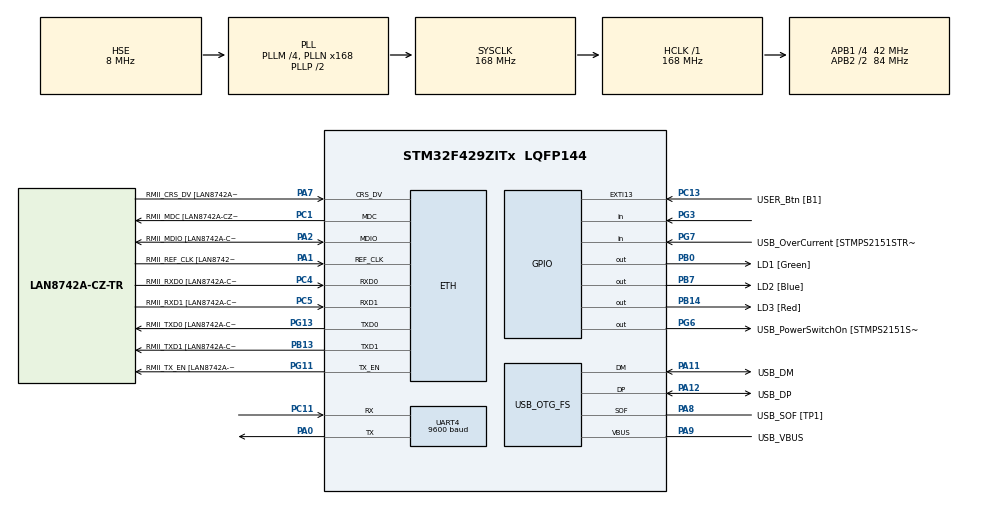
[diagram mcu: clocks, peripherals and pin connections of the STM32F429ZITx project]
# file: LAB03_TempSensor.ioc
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Dma.Request0=UART4_TX
Dma.Request1=UART4_RX
Dma.UART4_RX.1.Direction=DMA_PERIPH_TO_MEMORY
Dma.UART4_RX.1.FIFOMode=DMA_FIFOMODE_DISABLE
Dma.UART4_RX.1.Instance=DMA1_Stream2
Dma.UART4_RX.1.MemDataAlignment=DMA_MDATAALIGN_BYTE
Dma.UART4_RX.1.MemInc=DMA_MINC_ENABLE
Dma.UART4_RX.1.Mode=DMA_NORMAL
Dma.UART4_RX.1.PeriphDataAlignment=DMA_PDATAALIGN_BYTE
Dma.UART4_RX.1.PeriphInc=DMA_PINC_DISABLE
Dma.UART4_RX.1.Priority=DMA_PRIORITY_LOW
Dma.UART4_TX.0.Direction=DMA_MEMORY_TO_PERIPH
Dma.UART4_TX.0.FIFOMode=DMA_FIFOMODE_DISABLE
Dma.UART4_TX.0.Instance=DMA1_Stream4
Dma.UART4_TX.0.MemDataAlignment=DMA_MDATAALIGN_BYTE
Dma.UART4_TX.0.MemInc=DMA_MINC_ENABLE
Dma.UART4_TX.0.Mode=DMA_NORMAL
Dma.UART4_TX.0.PeriphDataAlignment=DMA_PDATAALIGN_BYTE
Dma.UART4_TX.0.PeriphInc=DMA_PINC_DISABLE
Dma.UART4_TX.0.Priority=DMA_PRIORITY_LOW
ETH.MediaInterface=HAL_ETH_RMII_MODE
ETH.PHY_Name=LAN8742A_PHY_ADDRESS
ETH.PHY_Value=0
ETH.PhyAddress=0
Mcu.Family=STM32F4
Mcu.Name=STM32F429ZITx
Mcu.Package=LQFP144
NVIC.DMA1_Stream2_IRQn=true\:0\:0\:false\:false\:true\:false\:true\:true
NVIC.DMA1_Stream4_IRQn=true\:0\:0\:false\:false\:true\:false\:true\:true
NVIC.PriorityGroup=NVIC_PRIORITYGROUP_4
NVIC.UART4_IRQn=true\:0\:0\:false\:false\:true\:true\:true\:true
PA0/WKUP.Mode=Asynchronous
PA0/WKUP.Signal=UART4_TX
PA1.GPIO_Label=RMII_REF_CLK [LAN8742A-CZ-TR_REFCLK0]
PA1.Mode=RMII
PA1.Signal=ETH_REF_CLK
PA10.GPIO_Label=USB_ID
PA10.Signal=USB_OTG_FS_ID
PA11.GPIO_Label=USB_DM
PA11.Mode=Device_Only
PA11.Signal=USB_OTG_FS_DM
PA12.GPIO_Label=USB_DP
PA12.Mode=Device_Only
PA12.Signal=USB_OTG_FS_DP
PA13.GPIO_Label=TMS
PA13.Mode=Serial_Wire
PA13.Signal=SYS_JTMS-SWDIO
PA14.GPIO_Label=TCK
PA14.Mode=Serial_Wire
PA14.Signal=SYS_JTCK-SWCLK
PA2.GPIO_Label=RMII_MDIO [LAN8742A-CZ-TR_MDIO]
PA2.Mode=RMII
PA2.Signal=ETH_MDIO
PA7.GPIO_Label=RMII_CRS_DV [LAN8742A-CZ-TR_CRS_DV]
PA7.Mode=RMII
PA7.Signal=ETH_CRS_DV
PA8.GPIO_Label=USB_SOF [TP1]
PA8.Mode=Activate_SOF_FS
PA8.Signal=USB_OTG_FS_SOF
PA9.GPIO_Label=USB_VBUS
PA9.Mode=Activate_VBUS
PA9.Signal=USB_OTG_FS_VBUS
PB0.GPIO_Label=LD1 [Green]
PB0.Signal=GPIO_Output
PB13.GPIO_Label=RMII_TXD1 [LAN8742A-CZ-TR_TXD1]
PB13.Mode=RMII
PB13.Signal=ETH_TXD1
PB14.GPIO_Label=LD3 [Red]
PB14.Signal=GPIO_Output
PB7.GPIO_Label=LD2 [Blue]
PB7.Signal=GPIO_Output
PC1.GPIO_Label=RMII_MDC [LAN8742A-CZ-TR_MDC]
PC1.Mode=RMII
PC1.Signal=ETH_MDC
PC11.Mode=Asynchronous
PC11.Signal=UART4_RX
PC13.GPIO_Label=USER_Btn [B1]
PC13.Signal=GPXTI13
PC14/OSC32_IN.Mode=LSE-External-Oscillator
PC14/OSC32_IN.Signal=RCC_OSC32_IN
PC15/OSC32_OUT.Mode=LSE-External-Oscillator
PC15/OSC32_OUT.Signal=RCC_OSC32_OUT
PC4.GPIO_Label=RMII_RXD0 [LAN8742A-CZ-TR_RXD0]
PC4.Mode=RMII
PC4.Signal=ETH_RXD0
PC5.GPIO_Label=RMII_RXD1 [LAN8742A-CZ-TR_RXD1]
PC5.Mode=RMII
PC5.Signal=ETH_RXD1
PD8.GPIO_Label=STLK_RX [STM32F103CBT6_PA3]
PD8.Signal=USART3_TX
PD9.GPIO_Label=STLK_TX [STM32F103CBT6_PA2]
PD9.Signal=USART3_RX
PG11.GPIO_Label=RMII_TX_EN [LAN8742A-CZ-TR_TXEN]
PG11.Mode=RMII
PG11.Signal=ETH_TX_EN
PG13.GPIO_Label=RMII_TXD0 [LAN8742A-CZ-TR_TXD0]
PG13.Mode=RMII
PG13.Signal=ETH_TXD0
PG3.Signal=GPIO_Input
PG6.GPIO_Label=USB_PowerSwitchOn [STMPS2151STR_EN]
PG6.Signal=GPIO_Output
PG7.GPIO_Label=USB_OverCurrent [STMPS2151STR_FAULT]
PG7.Signal=GPIO_Input
PH0/OSC_IN.GPIO_Label=MCO [STM32F103CBT6_PA8]
PH0/OSC_IN.Mode=HSE-External-Clock-Source
PH0/OSC_IN.Signal=RCC_OSC_IN
PH1/OSC_OUT.Mode=HSE-External-Clock-Source
PH1/OSC_OUT.Signal=RCC_OSC_OUT
ProjectManager.HeapSize=0x200
ProjectManager.StackSize=0x400
ProjectManager.TargetToolchain=MDK-ARM V5
RCC.48MHZClocksFreq_Value=48000000
RCC.AHBFreq_Value=168000000
RCC.APB1CLKDivider=RCC_HCLK_DIV4
RCC.APB1Freq_Value=42000000
RCC.APB1TimFreq_Value=84000000
RCC.APB2CLKDivider=RCC_HCLK_DIV2
RCC.APB2Freq_Value=84000000
RCC.APB2TimCLKDivider=2
RCC.APB2TimFreq_Value=168000000
RCC.CortexFreq_Value=168000000
RCC.HCLKFreq_Value=168000000
RCC.HSE_VALUE=8000000
RCC.HSI_VALUE=16000000
RCC.PLLM=4
RCC.PLLMUL=RCC_PLL_MUL9
RCC.PLLN=168
RCC.PLLQ=7
RCC.PRESCALERUSB=RCC_USBCLKSOURCE_PLL_DIV1_5
RCC.SYSCLKFreq_VALUE=168000000
RCC.SYSCLKSource=RCC_SYSCLKSOURCE_PLLCLK
RCC.SYSCLKSourceVirtual=RCC_SYSCLKSOURCE_PLLCLK
RCC.USBFreq_Value=48000000
RCC.VCOOutputFreq_Value=336000000
UART4.BaudRate=9600
UART4.VirtualMode=Asynchronous
USB_OTG_FS.VirtualMode=Device_Only
board=NUCLEO-F429ZI

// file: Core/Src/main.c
/* USER CODE BEGIN Header */
/**
  ******************************************************************************
  * @file           : main.c
  * @brief          : Main program body
  ******************************************************************************
  * @attention
  *
  * Copyright (c) 2023 STMicroelectronics.
  * All rights reserved.
  *
  * This software is licensed under terms that can be found in the LICENSE file
  * in the root directory of this software component.
  * If no LICENSE file comes with this software, it is provided AS-IS.
  *
  ******************************************************************************
  */
/* USER CODE END Header */
#include "main.h"
#include "string.h"
#include "stm32f4xx.h"

/* USER CODE BEGIN PD */

#define RS 14
#define RW 12
#define EN 10
#define DB4 14
#define DB5 15
#define DB6 13
#define DB7 14

/* USER CODE END PD */

ETH_TxPacketConfig TxConfig;
ETH_DMADescTypeDef  DMARxDscrTab[ETH_RX_DESC_CNT]; /* Ethernet Rx DMA Descriptors */
ETH_DMADescTypeDef  DMATxDscrTab[ETH_TX_DESC_CNT]; /* Ethernet Tx DMA Descriptors */

ETH_HandleTypeDef heth;

UART_HandleTypeDef huart4;
DMA_HandleTypeDef hdma_uart4_tx;
DMA_HandleTypeDef hdma_uart4_rx;

PCD_HandleTypeDef hpcd_USB_OTG_FS;

void SystemClock_Config(void);
static void MX_GPIO_Init(void);
static void MX_DMA_Init(void);
static void MX_ETH_Init(void);
static void MX_UART4_Init(void);
static void MX_USB_OTG_FS_PCD_Init(void);

/* USER CODE BEGIN 0 */
void LCD_port_init(int x);
void LCD_init(void);
void LCD_sendData(unsigned int bits);
void LCD_sendData(unsigned int bits);
void LCD_sendInstr(unsigned int high, unsigned int low);
void place_LCD_cursor(int num);
void delay(int num);
void setBits(char);
void intToChar(int num);
void doubleToLCD(double num, int sigfig);
void clear_pin(int pin);
void set_pin(int pin);
void check_BF(void);
void switch_line(int line);
/* USER CODE END 0 */

int main(void)
{

  /* MCU Configuration--------------------------------------------------------*/

  /* Reset of all peripherals, Initializes the Flash interface and the Systick. */
  HAL_Init();

  /* Configure the system clock */
  SystemClock_Config();

  /* Initialize all configured peripherals */
  MX_GPIO_Init();
  MX_DMA_Init();
  MX_ETH_Init();
  MX_UART4_Init();
  MX_USB_OTG_FS_PCD_Init();
	LCD_init();
	place_LCD_cursor(1);
  /* USER CODE BEGIN 2 */
	uint8_t pdata[10];
  /* USER CODE END 2 */

  /* Infinite loop */
  while (1)
  {
		HAL_UART_Receive(&huart4, pdata, 8, 1000);
		LCD_sendData(pdata[0]);

  }
}

void LCD_init() {
	// Enable Port D clock in RCC (bit 3 or AHB1ENR register)
	RCC->AHB1ENR |= RCC_AHB1ENR_GPIOEEN; //STEP 1: Enable GPIO in RCC AHB1ENR register
	RCC->AHB1ENR |= RCC_AHB1ENR_GPIOBEN;
	RCC->AHB1ENR |= RCC_AHB1ENR_GPIOGEN;
	RCC->AHB1ENR |= RCC_AHB1ENR_GPIOFEN;

	GPIOG->MODER &= ~(3u << DB4*2);
	GPIOF->MODER &= ~(3u << DB5*2);
	GPIOE->MODER &= ~(3u << DB6*2);
	GPIOF->MODER &= ~(3u << DB7*2);
	GPIOE->MODER &= ~(3u << EN*2);
	GPIOE->MODER &= ~(3u << RS*2);
	GPIOE->MODER &= ~(3u << RW*2);

	GPIOG->MODER |= (1u << DB4*2);
	GPIOF->MODER |= (1u << DB5*2);
	GPIOE->MODER |= (1u << DB6*2);
	GPIOF->MODER |= (1u << DB7*2);
	GPIOE->MODER |= (1u << EN*2);
	GPIOE->MODER |= (1u << RS*2);
	GPIOE->MODER |= (1u << RW*2);

	GPIOG->PUPDR &= ~(1u << DB4);
	GPIOF->PUPDR &= ~(1u << DB5);
	GPIOE->PUPDR &= ~(1u << DB6);
	GPIOF->PUPDR &= ~(1u << DB7);
	GPIOE->PUPDR &= ~(1u << EN);
	GPIOE->PUPDR &= ~(1u << RS);
	GPIOE->PUPDR &= ~(1u << RW);

	//initialize
	clear_pin(RW);
	clear_pin(RS);
	check_BF();

	LCD_sendInstr(3,3);
	LCD_sendInstr(3,2);

	LCD_sendInstr(0x2,0x8);
	LCD_sendInstr(0x0,0x8);
	LCD_sendInstr(0x0,0x1);
	LCD_sendInstr(0x0,0x6);
	LCD_sendInstr(0x0,0xf);

}

void LCD_sendData(unsigned int bits){
	unsigned int high;
	unsigned int low;

	high = bits&0xf0U;
	high = high/16;
	low = bits&0xfU;

	set_pin(RS);
	clear_pin(RW);
	// high bits
	GPIOG->ODR&=~(0x1U<<DB4); //clear
	GPIOF->ODR&=~(0x1U<<DB5); //clear
	GPIOE->ODR&=~(0x1U<<DB6); //clear
	GPIOF->ODR&=~(0x1U<<DB7); //clear

	GPIOG->ODR|=(high&0x1U<<DB4); //set
	GPIOF->ODR|=(high&0x2U<<(DB5-1)); //set
	GPIOE->ODR|=(high&0x4U<<(DB6-2)); //set
	GPIOF->ODR|=(high&0x8U<<(DB7-3)); //set

	set_pin(EN); clear_pin(EN); //read
	check_BF();

	set_pin(RS);
	clear_pin(RW);
	// high bits
	GPIOG->ODR&=~(0x1U<<DB4); //clear
	GPIOF->ODR&=~(0x1U<<DB5); //clear
	GPIOE->ODR&=~(0x1U<<DB6); //clear
	GPIOF->ODR&=~(0x1U<<DB7); //clear

	GPIOG->ODR|=(low&0x1U<<DB4); //set
	GPIOF->ODR|=(low&0x2U<<(DB5-1)); //set
	GPIOE->ODR|=(low&0x4U<<(DB6-2)); //set
	GPIOF->ODR|=(low&0x8U<<(DB7-3)); //set

	set_pin(EN); clear_pin(EN); //read
	check_BF();
}

void LCD_sendInstr(unsigned int high, unsigned int low){
	clear_pin(RS);
	clear_pin(RW);
	// high bits
	GPIOG->ODR&=~(0x1U<<DB4); //clear
	GPIOF->ODR&=~(0x1U<<DB5); //clear
	GPIOE->ODR&=~(0x1U<<DB6); //clear
	GPIOF->ODR&=~(0x1U<<DB7); //clear

	GPIOG->ODR|=(high&0x1U<<DB4); //set
	GPIOF->ODR|=(high&0x2U<<(DB5-1)); //set
	GPIOE->ODR|=(high&0x4U<<(DB6-2)); //set
	GPIOF->ODR|=(high&0x8U<<(DB7-3)); //set

	set_pin(EN); clear_pin(EN); //read
	check_BF();

	clear_pin(RS);
	clear_pin(RW);
	// high bits
	GPIOG->ODR&=~(0x1U<<DB4); //clear
	GPIOF->ODR&=~(0x1U<<DB5); //clear
	GPIOE->ODR&=~(0x1U<<DB6); //clear
	GPIOF->ODR&=~(0x1U<<DB7); //clear

	GPIOG->ODR|=(low&0x1U<<DB4); //set
	GPIOF->ODR|=(low&0x2U<<(DB5-1)); //set
	GPIOE->ODR|=(low&0x4U<<(DB6-2)); //set
	GPIOF->ODR|=(low&0x8U<<(DB7-3)); //set

	set_pin(EN); clear_pin(EN); //read
	check_BF();
}
void place_LCD_cursor(int num){
	clear_pin(RS);
	while(num>0) {
		LCD_sendInstr(0x1U, 0x6U);
		num--;
	}
}

void switch_line(int line) {
		if(line == 2){
			LCD_sendInstr(0xc, 0);
		}else if(line == 1){
			LCD_sendInstr(0xc, 0);
			place_LCD_cursor(40);
		}
}

//delay 6000 for about 1 sec
void delay(int time){
	while(time>=0) {
		time = time - 1;
	}
}

void intToChar(int num){
	char character;
	character = num%10 +'0';
	num = num /10;
	if(num!=0) {
		intToChar(num);
	}
	LCD_sendData(character);

}

void doubleToLCD(double num, int sigfig) {
	int integer = num;
	intToChar(integer);

	LCD_sendData('.');

	num = num - integer;
	for(int i=0; i<sigfig && num>0; i++) {
		num = num * 10;
		integer = num;
		LCD_sendData(integer+'0');
		num = num - integer;
	}
}

void clear_pin(int pin){
	GPIOE->ODR&=~(0x1U<<pin); //clear
}

void set_pin(int pin){
	GPIOE->ODR|=(0x1U<<pin); //clear
}

void check_BF(void){
	set_pin(RW);
	clear_pin(RS);
	GPIOD->MODER &=~(3U<<DB7*2);
	set_pin(EN);
	while(GPIOD->IDR & (1<<DB7)) {

	}
	clear_pin(EN);
	GPIOD->MODER &=~(3U<<DB7*2);
	GPIOD->MODER |=(1U<<DB7*2);
	clear_pin(RW);
}

void SystemClock_Config(void)
{
  RCC_OscInitTypeDef RCC_OscInitStruct = {0};
  RCC_ClkInitTypeDef RCC_ClkInitStruct = {0};

  /** Configure the main internal regulator output voltage
  */
  __HAL_RCC_PWR_CLK_ENABLE();
  __HAL_PWR_VOLTAGESCALING_CONFIG(PWR_REGULATOR_VOLTAGE_SCALE1);

  /** Initializes the RCC Oscillators according to the specified parameters
  * in the RCC_OscInitTypeDef structure.
  */
  RCC_OscInitStruct.OscillatorType = RCC_OSCILLATORTYPE_HSE;
  RCC_OscInitStruct.HSEState = RCC_HSE_BYPASS;
  RCC_OscInitStruct.PLL.PLLState = RCC_PLL_ON;
  RCC_OscInitStruct.PLL.PLLSource = RCC_PLLSOURCE_HSE;
  RCC_OscInitStruct.PLL.PLLM = 4;
  RCC_OscInitStruct.PLL.PLLN = 168;
  RCC_OscInitStruct.PLL.PLLP = RCC_PLLP_DIV2;
  RCC_OscInitStruct.PLL.PLLQ = 7;
  if (HAL_RCC_OscConfig(&RCC_OscInitStruct) != HAL_OK)
  {
    Error_Handler();
  }

  /** Initializes the CPU, AHB and APB buses clocks
  */
  RCC_ClkInitStruct.ClockType = RCC_CLOCKTYPE_HCLK|RCC_CLOCKTYPE_SYSCLK
                              |RCC_CLOCKTYPE_PCLK1|RCC_CLOCKTYPE_PCLK2;
  RCC_ClkInitStruct.SYSCLKSource = RCC_SYSCLKSOURCE_PLLCLK;
  RCC_ClkInitStruct.AHBCLKDivider = RCC_SYSCLK_DIV1;
  RCC_ClkInitStruct.APB1CLKDivider = RCC_HCLK_DIV4;
  RCC_ClkInitStruct.APB2CLKDivider = RCC_HCLK_DIV2;

  if (HAL_RCC_ClockConfig(&RCC_ClkInitStruct, FLASH_LATENCY_5) != HAL_OK)
  {
    Error_Handler();
  }
}

static void MX_ETH_Init(void)
{

   static uint8_t MACAddr[6];

  heth.Instance = ETH;
  MACAddr[0] = 0x00;
  MACAddr[1] = 0x80;
  MACAddr[2] = 0xE1;
  MACAddr[3] = 0x00;
  MACAddr[4] = 0x00;
  MACAddr[5] = 0x00;
  heth.Init.MACAddr = &MACAddr[0];
  heth.Init.MediaInterface = HAL_ETH_RMII_MODE;
  heth.Init.TxDesc = DMATxDscrTab;
  heth.Init.RxDesc = DMARxDscrTab;
  heth.Init.RxBuffLen = 1524;

  if (HAL_ETH_Init(&heth) != HAL_OK)
  {
    Error_Handler();
  }

  memset(&TxConfig, 0 , sizeof(ETH_TxPacketConfig));
  TxConfig.Attributes = ETH_TX_PACKETS_FEATURES_CSUM | ETH_TX_PACKETS_FEATURES_CRCPAD;
  TxConfig.ChecksumCtrl = ETH_CHECKSUM_IPHDR_PAYLOAD_INSERT_PHDR_CALC;
  TxConfig.CRCPadCtrl = ETH_CRC_PAD_INSERT;

}

static void MX_UART4_Init(void)
{

  huart4.Instance = UART4;
  huart4.Init.BaudRate = 9600;
  huart4.Init.WordLength = UART_WORDLENGTH_8B;
  huart4.Init.StopBits = UART_STOPBITS_1;
  huart4.Init.Parity = UART_PARITY_NONE;
  huart4.Init.Mode = UART_MODE_TX_RX;
  huart4.Init.HwFlowCtl = UART_HWCONTROL_NONE;
  huart4.Init.OverSampling = UART_OVERSAMPLING_16;
  if (HAL_UART_Init(&huart4) != HAL_OK)
  {
    Error_Handler();
  }

}

static void MX_USB_OTG_FS_PCD_Init(void)
{

  hpcd_USB_OTG_FS.Instance = USB_OTG_FS;
  hpcd_USB_OTG_FS.Init.dev_endpoints = 4;
  hpcd_USB_OTG_FS.Init.speed = PCD_SPEED_FULL;
  hpcd_USB_OTG_FS.Init.dma_enable = DISABLE;
  hpcd_USB_OTG_FS.Init.phy_itface = PCD_PHY_EMBEDDED;
  hpcd_USB_OTG_FS.Init.Sof_enable = ENABLE;
  hpcd_USB_OTG_FS.Init.low_power_enable = DISABLE;
  hpcd_USB_OTG_FS.Init.lpm_enable = DISABLE;
  hpcd_USB_OTG_FS.Init.vbus_sensing_enable = ENABLE;
  hpcd_USB_OTG_FS.Init.use_dedicated_ep1 = DISABLE;
  if (HAL_PCD_Init(&hpcd_USB_OTG_FS) != HAL_OK)
  {
    Error_Handler();
  }

}

static void MX_DMA_Init(void)
{

  /* DMA controller clock enable */
  __HAL_RCC_DMA1_CLK_ENABLE();

  /* DMA interrupt init */
  /* DMA1_Stream2_IRQn interrupt configuration */
  HAL_NVIC_SetPriority(DMA1_Stream2_IRQn, 0, 0);
  HAL_NVIC_EnableIRQ(DMA1_Stream2_IRQn);
  /* DMA1_Stream4_IRQn interrupt configuration */
  HAL_NVIC_SetPriority(DMA1_Stream4_IRQn, 0, 0);
  HAL_NVIC_EnableIRQ(DMA1_Stream4_IRQn);

}

static void MX_GPIO_Init(void)
{
  GPIO_InitTypeDef GPIO_InitStruct = {0};

  /* GPIO Ports Clock Enable */
  __HAL_RCC_GPIOC_CLK_ENABLE();
  __HAL_RCC_GPIOH_CLK_ENABLE();
  __HAL_RCC_GPIOA_CLK_ENABLE();
  __HAL_RCC_GPIOB_CLK_ENABLE();
  __HAL_RCC_GPIOD_CLK_ENABLE();
  __HAL_RCC_GPIOG_CLK_ENABLE();

  /*Configure GPIO pin Output Level */
  HAL_GPIO_WritePin(GPIOB, LD1_Pin|LD3_Pin|LD2_Pin, GPIO_PIN_RESET);

  /*Configure GPIO pin Output Level */
  HAL_GPIO_WritePin(USB_PowerSwitchOn_GPIO_Port, USB_PowerSwitchOn_Pin, GPIO_PIN_RESET);

  /*Configure GPIO pin : USER_Btn_Pin */
  GPIO_InitStruct.Pin = USER_Btn_Pin;
  GPIO_InitStruct.Mode = GPIO_MODE_IT_RISING;
  GPIO_InitStruct.Pull = GPIO_NOPULL;
  HAL_GPIO_Init(USER_Btn_GPIO_Port, &GPIO_InitStruct);

  /*Configure GPIO pins : LD1_Pin LD3_Pin LD2_Pin */
  GPIO_InitStruct.Pin = LD1_Pin|LD3_Pin|LD2_Pin;
  GPIO_InitStruct.Mode = GPIO_MODE_OUTPUT_PP;
  GPIO_InitStruct.Pull = GPIO_NOPULL;
  GPIO_InitStruct.Speed = GPIO_SPEED_FREQ_LOW;
  HAL_GPIO_Init(GPIOB, &GPIO_InitStruct);

  /*Configure GPIO pins : STLK_RX_Pin STLK_TX_Pin */
  GPIO_InitStruct.Pin = STLK_RX_Pin|STLK_TX_Pin;
  GPIO_InitStruct.Mode = GPIO_MODE_AF_PP;
  GPIO_InitStruct.Pull = GPIO_NOPULL;
  GPIO_InitStruct.Speed = GPIO_SPEED_FREQ_VERY_HIGH;
  GPIO_InitStruct.Alternate = GPIO_AF7_USART3;
  HAL_GPIO_Init(GPIOD, &GPIO_InitStruct);

  /*Configure GPIO pins : PG3 USB_OverCurrent_Pin */
  GPIO_InitStruct.Pin = GPIO_PIN_3|USB_OverCurrent_Pin;
  GPIO_InitStruct.Mode = GPIO_MODE_INPUT;
  GPIO_InitStruct.Pull = GPIO_NOPULL;
  HAL_GPIO_Init(GPIOG, &GPIO_InitStruct);

  /*Configure GPIO pin : USB_PowerSwitchOn_Pin */
  GPIO_InitStruct.Pin = USB_PowerSwitchOn_Pin;
  GPIO_InitStruct.Mode = GPIO_MODE_OUTPUT_PP;
  GPIO_InitStruct.Pull = GPIO_NOPULL;
  GPIO_InitStruct.Speed = GPIO_SPEED_FREQ_LOW;
  HAL_GPIO_Init(USB_PowerSwitchOn_GPIO_Port, &GPIO_InitStruct);

}

void Error_Handler(void)
{
  __disable_irq();
  while (1)
  {
  }
}
